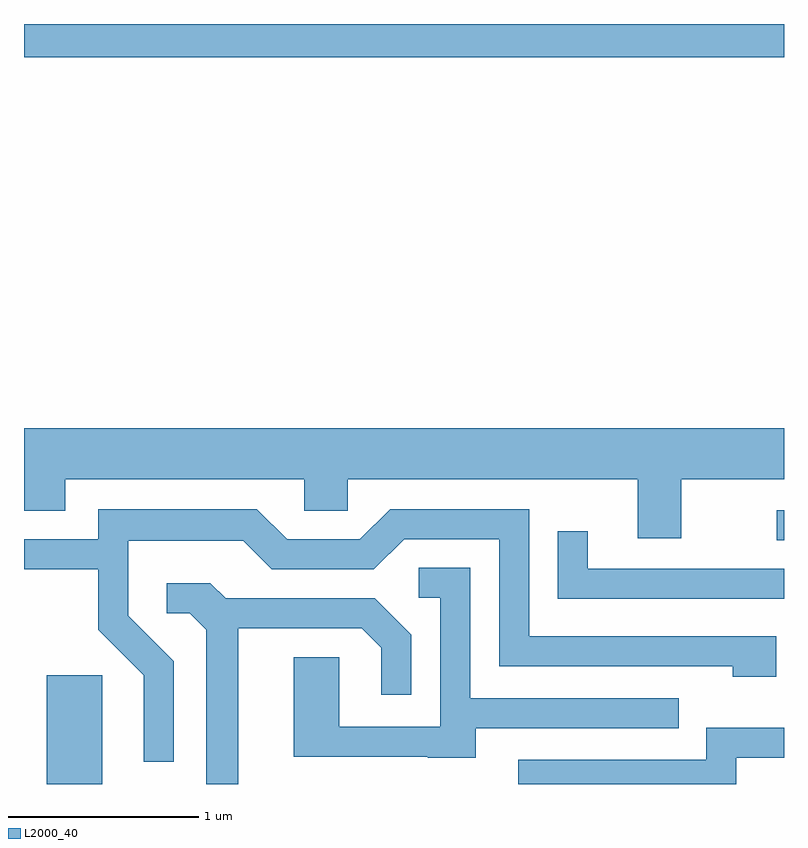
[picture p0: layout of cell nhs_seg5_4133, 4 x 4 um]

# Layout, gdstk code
import gdstk
lib = gdstk.Library(unit=1e-6, precision=1e-09)
def R(c, l, rs):  # rectangles x0, y0, x1, y1
    for r in rs: c.add(gdstk.rectangle(r[:2], r[2:], *l))
def P(c, l, *ps):  # polygons
    for p in ps: c.add(gdstk.Polygon(p, *l))
L2000_40 = (2000, 40)

nhs_seg5_4133 = lib.new_cell('nhs_seg5_4133')
R(nhs_seg5_4133, L2000_40, [(307.731,1464.072,308.024,1464.644), (311.573,1465.356,311.611,1465.514), (307.611,1467.896,311.611,1468.072)])
P(nhs_seg5_4133, L2000_40, [(311.069,1465.676),(311.611,1465.676),(311.611,1465.944),(307.611,1465.944),(307.611,1465.511),(307.829,1465.511),(307.829,1465.676),(309.086,1465.676),(309.086,1465.511),(309.314,1465.511),(309.314,1465.676),(310.841,1465.676),(310.841,1465.366),(311.069,1465.366)],
  [(308.399,1464.717),(308.159,1464.957),(308.159,1465.351),(308.764,1465.351),(308.914,1465.201),(309.452,1465.201),(309.612,1465.361),(310.111,1465.361),(310.111,1464.691),(311.341,1464.691),(311.341,1464.636),(311.569,1464.636),(311.569,1464.849),(310.269,1464.849),(310.269,1465.519),(309.539,1465.519),(309.379,1465.359),(308.997,1465.359),(308.837,1465.519),(308.001,1465.519),(308.001,1465.359),(307.611,1465.359),(307.611,1465.201),(308.001,1465.201),(308.001,1464.884),(308.241,1464.644),(308.241,1464.188),(308.399,1464.188)],
  [(311.611,1465.204),(310.579,1465.204),(310.579,1465.403),(310.421,1465.403),(310.421,1465.046),(311.611,1465.046)],
  [(309.989,1464.366),(311.058,1464.366),(311.058,1464.524),(309.959,1464.524),(309.959,1465.209),(309.688,1465.209),(309.688,1465.051),(309.801,1465.051),(309.801,1464.374),(309.269,1464.374),(309.269,1464.739),(309.031,1464.739),(309.031,1464.216),(309.735,1464.216),(309.735,1464.211),(309.989,1464.211)],
  [(308.739,1464.891),(309.389,1464.891),(309.491,1464.789),(309.491,1464.543),(309.649,1464.543),(309.649,1464.857),(309.457,1465.049),(308.672,1465.049),(308.592,1465.129),(308.363,1465.129),(308.363,1464.971),(308.484,1464.971),(308.571,1464.884),(308.571,1464.072),(308.739,1464.072)],
  [(311.359,1464.211),(311.611,1464.211),(311.611,1464.369),(311.201,1464.369),(311.201,1464.199),(310.211,1464.199),(310.211,1464.072),(311.359,1464.072)])

lib.write_gds('nhs_seg5_4133.gds')
